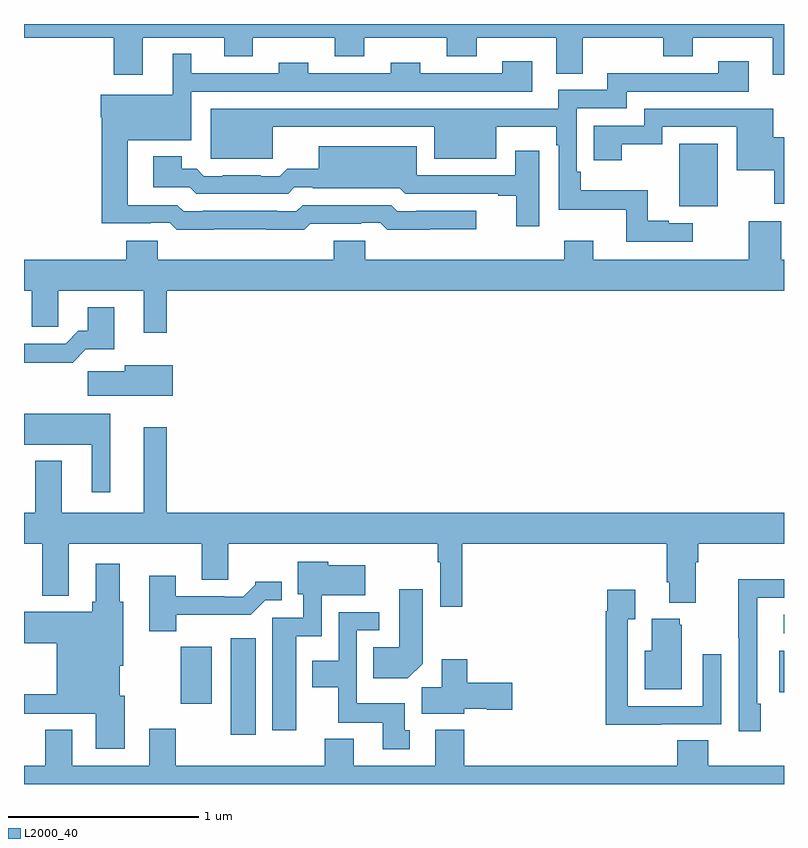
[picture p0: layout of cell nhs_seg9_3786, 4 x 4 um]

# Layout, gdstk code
import gdstk
lib = gdstk.Library(unit=1e-6, precision=1e-09)
def R(c, l, rs):  # rectangles x0, y0, x1, y1
    for r in rs: c.add(gdstk.rectangle(r[:2], r[2:], *l))
def P(c, l, *ps):  # polygons
    for p in ps: c.add(gdstk.Polygon(p, *l))
L2000_40 = (2000, 40)

nhs_seg9_3786 = lib.new_cell('nhs_seg9_3786')
R(nhs_seg9_3786, L2000_40, [(328.088,1184.76,328.219,1185.268), (330.974,1184.983,331,1185.202), (330.999,1185.294,331,1185.39), (330.449,1187.54,330.652,1187.869)])
P(nhs_seg9_3786, L2000_40, [(327.625,1188.428),(328.055,1188.428),(328.055,1188.329),(328.203,1188.329),(328.203,1188.428),(328.636,1188.428),(328.636,1188.329),(328.791,1188.329),(328.791,1188.428),(329.224,1188.428),(329.224,1188.329),(329.382,1188.329),(329.382,1188.428),(329.801,1188.428),(329.801,1188.238),(329.941,1188.238),(329.941,1188.428),(330.364,1188.428),(330.364,1188.329),(330.519,1188.329),(330.519,1188.428),(330.941,1188.428),(330.941,1188.234),(331,1188.234),(331,1188.5),(327,1188.5),(327,1188.428),(327.473,1188.428),(327.473,1188.234),(327.625,1188.234)],
  [(327.998,1187.42),(328.276,1187.42),(328.276,1187.418),(328.475,1187.418),(328.507,1187.45),(328.775,1187.45),(328.775,1187.454),(328.875,1187.454),(328.912,1187.418),(329.136,1187.418),(329.136,1187.42),(329.38,1187.42),(329.38,1187.517),(329.065,1187.517),(329.065,1187.514),(328.965,1187.514),(328.932,1187.547),(328.467,1187.547),(328.434,1187.514),(328.334,1187.514),(328.334,1187.517),(327.94,1187.517),(327.94,1187.514),(327.84,1187.514),(327.807,1187.547),(327.547,1187.547),(327.547,1187.888),(327.88,1187.888),(327.88,1188.144),(329.674,1188.144),(329.674,1188.304),(329.518,1188.304),(329.518,1188.24),(329.085,1188.24),(329.085,1188.295),(328.93,1188.295),(328.93,1188.24),(328.497,1188.24),(328.497,1188.295),(328.342,1188.295),(328.342,1188.24),(327.88,1188.24),(327.88,1188.343),(327.782,1188.343),(327.782,1188.127),(327.404,1188.127),(327.404,1188.009),(327.41,1188.009),(327.41,1187.451),(327.668,1187.451),(327.668,1187.454),(327.767,1187.454),(327.803,1187.418),(327.998,1187.418)],
  [(330.52,1187.451),(330.393,1187.451),(330.393,1187.464),(330.283,1187.464),(330.283,1187.626),(329.93,1187.626),(329.93,1187.722),(329.91,1187.722),(329.91,1188.057),(330.172,1188.057),(330.172,1188.144),(330.814,1188.144),(330.814,1188.304),(330.653,1188.304),(330.653,1188.24),(330.275,1188.24),(330.275,1188.242),(330.071,1188.242),(330.071,1188.153),(329.813,1188.153),(329.813,1188.054),(328.205,1188.054),(328.205,1188.055),(327.983,1188.055),(327.983,1187.792),(328.309,1187.792),(328.309,1187.958),(329.159,1187.958),(329.159,1187.792),(329.485,1187.792),(329.485,1187.958),(329.802,1187.958),(329.802,1187.861),(329.814,1187.861),(329.814,1187.522),(330.17,1187.522),(330.17,1187.355),(330.52,1187.355)],
  [(331,1187.905),(330.943,1187.905),(330.943,1188.054),(330.264,1188.054),(330.264,1187.964),(329.999,1187.964),(329.999,1187.784),(330.147,1187.784),(330.147,1187.866),(330.36,1187.866),(330.36,1187.958),(330.752,1187.958),(330.752,1187.729),(330.949,1187.729),(330.949,1187.553),(331,1187.553)],
  [(329.713,1187.833),(329.585,1187.833),(329.585,1187.703),(329.067,1187.703),(329.067,1187.857),(328.55,1187.857),(328.55,1187.738),(328.385,1187.738),(328.347,1187.7),(328.247,1187.7),(328.247,1187.703),(328.045,1187.703),(328.045,1187.7),(327.945,1187.7),(327.909,1187.737),(327.829,1187.737),(327.829,1187.803),(327.681,1187.803),(327.681,1187.64),(327.873,1187.64),(327.906,1187.607),(328.39,1187.607),(328.423,1187.64),(328.519,1187.64),(328.519,1187.636),(328.977,1187.636),(329.006,1187.607),(329.495,1187.607),(329.495,1187.595),(329.591,1187.595),(329.591,1187.436),(329.713,1187.436)],
  [(327.751,1187.096),(331,1187.096),(331,1187.26),(330.986,1187.26),(330.986,1187.461),(330.814,1187.461),(330.814,1187.26),(329.995,1187.26),(329.995,1187.359),(329.843,1187.359),(329.843,1187.26),(328.796,1187.26),(328.796,1187.359),(328.631,1187.359),(328.631,1187.26),(327.704,1187.26),(327.704,1187.359),(327.539,1187.359),(327.539,1187.26),(327,1187.26),(327,1187.096),(327.041,1187.096),(327.041,1186.906),(327.18,1186.906),(327.18,1187.096),(327.629,1187.096),(327.629,1186.875),(327.751,1186.875)],
  [(327.326,1186.787),(327.475,1186.787),(327.475,1187.008),(327.335,1187.008),(327.335,1186.885),(327.286,1186.885),(327.219,1186.818),(327,1186.818),(327,1186.72),(327.001,1186.72),(327.001,1186.718),(327.257,1186.718)],
  [(327.784,1186.705),(327.53,1186.705),(327.53,1186.673),(327.336,1186.673),(327.336,1186.544),(327.784,1186.544)],
  [(327.454,1186.45),(327,1186.45),(327,1186.286),(327.356,1186.286),(327.356,1186.035),(327.454,1186.035)],
  [(327.751,1186.378),(327.629,1186.378),(327.629,1185.928),(327.199,1185.928),(327.199,1186.201),(327.059,1186.201),(327.059,1185.928),(327,1185.928),(327,1185.764),(327.095,1185.764),(327.095,1185.491),(327.235,1185.491),(327.235,1185.764),(327.935,1185.764),(327.935,1185.574),(328.075,1185.574),(328.075,1185.764),(329.178,1185.764),(329.178,1185.668),(329.19,1185.668),(329.19,1185.432),(329.306,1185.432),(329.306,1185.764),(330.383,1185.764),(330.383,1185.562),(330.395,1185.562),(330.395,1185.455),(330.535,1185.455),(330.535,1185.668),(330.548,1185.668),(330.548,1185.764),(331,1185.764),(331,1185.928),(327.751,1185.928)],
  [(328.432,1185.278),(328.566,1185.278),(328.566,1185.494),(328.795,1185.494),(328.795,1185.652),(328.602,1185.652),(328.602,1185.67),(328.442,1185.67),(328.442,1185.498),(328.47,1185.498),(328.47,1185.375),(328.307,1185.375),(328.307,1184.784),(328.432,1184.784)],
  [(327.529,1184.964),(327.505,1184.964),(327.505,1185.123),(327.523,1185.123),(327.523,1185.459),(327.505,1185.459),(327.505,1185.658),(327.377,1185.658),(327.377,1185.459),(327.358,1185.459),(327.358,1185.406),(327,1185.406),(327,1185.242),(327.173,1185.242),(327.173,1184.972),(327,1184.972),(327,1184.871),(327.377,1184.871),(327.377,1184.685),(327.529,1184.685)],
  [(327.802,1185.392),(328.193,1185.392),(328.269,1185.468),(328.357,1185.468),(328.357,1185.565),(328.218,1185.565),(328.218,1185.55),(328.154,1185.486),(328.055,1185.486),(328.055,1185.489),(327.799,1185.489),(327.799,1185.595),(327.659,1185.595),(327.659,1185.305),(327.802,1185.305)],
  [(330.877,1184.922),(330.858,1184.922),(330.858,1185.48),(331,1185.48),(331,1185.578),(330.76,1185.578),(330.76,1185.271),(330.762,1185.271),(330.762,1184.778),(330.877,1184.778)],
  [(329.098,1185.134),(329.098,1185.526),(328.976,1185.526),(328.976,1185.22),(328.837,1185.22),(328.837,1185.056),(329.02,1185.056)],
  [(330.353,1184.814),(330.669,1184.814),(330.669,1185.184),(330.573,1185.184),(330.573,1184.91),(330.177,1184.91),(330.177,1185.367),(330.217,1185.367),(330.217,1185.523),(330.069,1185.523),(330.069,1185.41),(330.061,1185.41),(330.061,1184.813),(330.353,1184.813)],
  [(329.029,1184.784),(329.005,1184.784),(329.005,1184.926),(328.752,1184.926),(328.752,1185.309),(328.87,1185.309),(328.87,1185.405),(328.656,1185.405),(328.656,1185.148),(328.517,1185.148),(328.517,1185.008),(328.654,1185.008),(328.654,1184.822),(328.889,1184.822),(328.889,1184.682),(329.029,1184.682)],
  [(330.463,1185.339),(330.452,1185.339),(330.452,1185.37),(330.305,1185.37),(330.305,1185.202),(330.266,1185.202),(330.266,1184.999),(330.463,1184.999)],
  [(327.988,1185.223),(327.826,1185.223),(327.826,1185.075),(327.824,1185.075),(327.824,1184.922),(327.988,1184.922)],
  [(329.316,1184.897),(329.436,1184.897),(329.436,1184.89),(329.569,1184.89),(329.569,1185.032),(329.333,1185.032),(329.333,1185.157),(329.198,1185.157),(329.198,1185.008),(329.093,1185.008),(329.093,1184.87),(329.316,1184.87)],
  [(331,1184.596),(330.602,1184.596),(330.602,1184.729),(330.437,1184.729),(330.437,1184.596),(329.318,1184.596),(329.318,1184.785),(329.165,1184.785),(329.165,1184.596),(328.735,1184.596),(328.735,1184.737),(328.583,1184.737),(328.583,1184.596),(327.799,1184.596),(327.799,1184.791),(327.659,1184.791),(327.659,1184.596),(327.253,1184.596),(327.253,1184.786),(327.113,1184.786),(327.113,1184.596),(327,1184.596),(327,1184.5),(331,1184.5)])

lib.write_gds('nhs_seg9_3786.gds')
